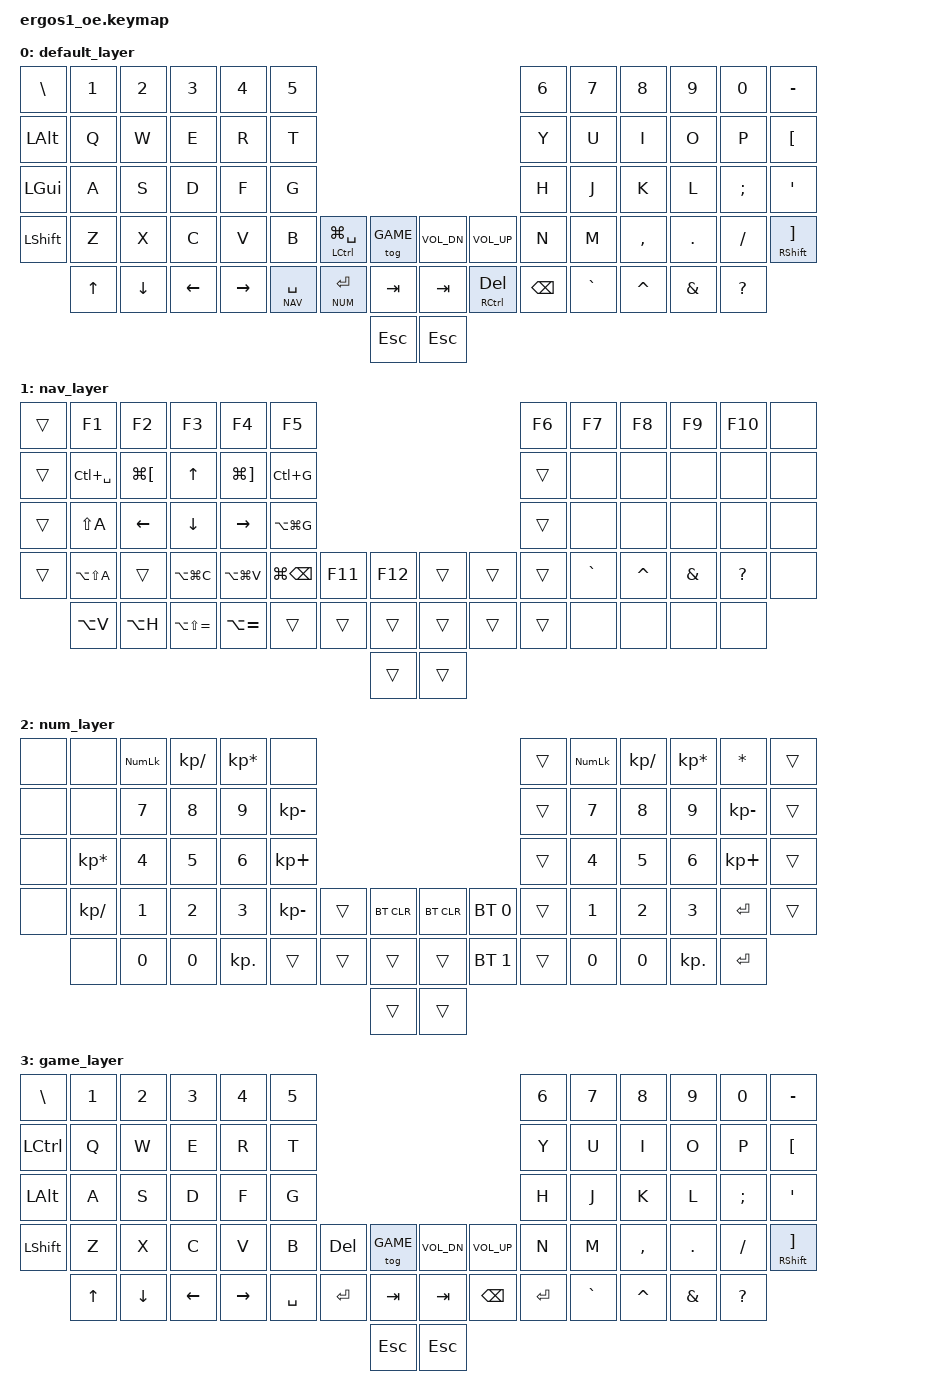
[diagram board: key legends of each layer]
#include <behaviors.dtsi>
#include <dt-bindings/zmk/keys.h>
#include <dt-bindings/zmk/bt.h>
#include <dt-bindings/zmk/ext_power.h>
#include <dt-bindings/zmk/outputs.h>

#define DEFAULT 0
#define NAV 1
#define NUM 2
#define GAME 3

/ {
       keymap {
              compatible = "zmk,keymap";
 
              default_layer {
                 bindings = <
                     &kp BSLH      &kp N1        &kp N2        &kp N3        &kp N4        &kp N5                                                                                         &kp N6        &kp N7        &kp N8        &kp N9            &kp N0        &kp MINUS
                     &kp LALT      &kp Q         &kp W         &kp E         &kp R         &kp T                                                                                          &kp Y         &kp U         &kp I         &kp O             &kp P         &kp LBKT
                     &kp LGUI      &kp A         &kp S         &kp D         &kp F         &kp G                                                                                          &kp H         &kp J         &kp K         &kp L             &kp SEMI      &kp SQT
                     &kp LSHFT     &kp Z         &kp X         &kp C         &kp V         &kp B                 &mt LCTRL LG(SPACE)  &tog GAME   &kp C_VOL_DN  &kp C_VOL_UP              &kp N         &kp M         &kp COMMA     &kp PERIOD        &kp SLASH     &mt RSHFT RBKT
                                   &kp UP        &kp DOWN      &kp LEFT      &kp RIGHT            &lt NAV SPACE  &lt NUM ENTER        &kp TAB     &kp TAB       &mt RCTRL DEL   &kp BSPC                &kp GRAVE     &kp CARET     &kp AMPS          &kp QMARK
                                                                                                                                      &kp ESC     &kp ESC 
                     >;
              };
              nav_layer {
                 bindings = <
                     &trans        &kp F1        &kp F2        &kp F3               &kp F4        &kp F5                                                                               &kp F6        &kp F7       &kp F8       &kp F9       &kp F10     &none
                     &trans        &kp LC(SPACE) &kp LG(LBKT)  &kp UP               &kp LG(RBKT)  &kp LC(G)                                                                            &trans        &none        &none        &none        &none       &none
                     &trans        &kp LS(A)     &kp LEFT      &kp DOWN             &kp RIGHT     &kp LA(LG(G))                                                                        &trans        &none        &none        &none        &none       &none
                     &trans        &kp LA(LS(A)) &trans        &kp LA(LG(C))        &kp LA(LG(V)) &kp LG(BSPC)                &kp F11       &kp F12       &trans     &trans            &trans        &kp GRAVE    &kp CARET    &kp AMPS     &kp QMARK   &none
                                   &kp LA(V)     &kp LA(H)     &kp LA(LS(EQUAL))    &kp LA(EQUAL)               &trans        &trans        &trans        &trans     &trans     &trans               &none        &none        &none        &none
                                                                                                                                            &trans        &trans    
                     >;
              };
              num_layer {
                 bindings = <
                     &none        &none           &kp KP_NUM    &kp KP_DIVIDE &kp KP_MULTIPLY    &none                                                                                             &trans        &kp KP_NUM    &kp KP_DIVIDE &kp KP_MULTIPLY     &kp STAR      &trans
                     &none        &none           &kp N7        &kp N8        &kp N9             &kp KP_MINUS                                                                                      &trans        &kp N7        &kp N8        &kp N9              &kp KP_MINUS  &trans
                     &none        &kp KP_MULTIPLY &kp N4        &kp N5        &kp N6             &kp KP_PLUS                                                                                       &trans        &kp N4        &kp N5        &kp N6              &kp KP_PLUS   &trans
                     &none        &kp KP_DIVIDE   &kp N1        &kp N2        &kp N3             &kp KP_MINUS                &trans       &bt BT_CLR    &bt BT_CLR &bt BT_SEL 0                    &trans        &kp N1        &kp N2        &kp N3              &kp ENTER     &trans
                                  &none           &kp N0        &kp N0        &kp KP_DOT                        &trans       &trans       &trans        &trans     &bt BT_SEL 1       &trans                     &kp N0        &kp N0        &kp KP_DOT          &kp ENTER
                                                                                                                                          &trans        &trans    
                     >;
              };
              game_layer {
                 bindings = <
                     &kp BSLH      &kp N1        &kp N2        &kp N3        &kp N4        &kp N5                                                                                     &kp N6        &kp N7        &kp N8        &kp N9            &kp N0        &kp MINUS
                     &kp LCTRL     &kp Q         &kp W         &kp E         &kp R         &kp T                                                                                      &kp Y         &kp U         &kp I         &kp O             &kp P         &kp LBKT
                     &kp LALT      &kp A         &kp S         &kp D         &kp F         &kp G                                                                                      &kp H         &kp J         &kp K         &kp L             &kp SEMI      &kp SQT
                     &kp LSHFT     &kp Z         &kp X         &kp C         &kp V         &kp B                       &kp DEL       &tog GAME     &kp C_VOL_DN  &kp C_VOL_UP         &kp N         &kp M         &kp COMMA     &kp PERIOD        &kp SLASH     &mt RSHFT RBKT
                                   &kp UP        &kp DOWN      &kp LEFT      &kp RIGHT                   &kp SPACE     &kp ENTER     &kp TAB       &kp TAB       &kp BSPC   &kp ENTER               &kp GRAVE     &kp CARET     &kp AMPS          &kp QMARK
                                                                                                                                     &kp ESC       &kp ESC 
                     >;
              };
       };
};
